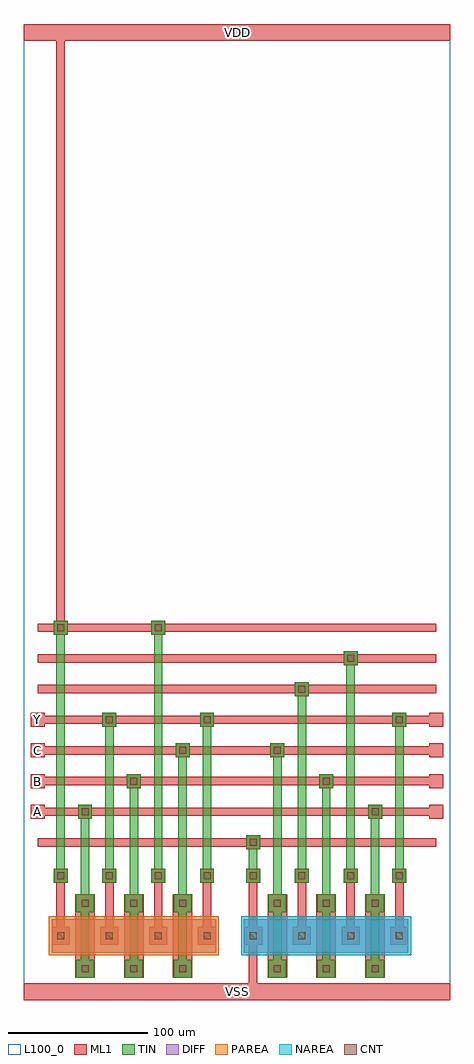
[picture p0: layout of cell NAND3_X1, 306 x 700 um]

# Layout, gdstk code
import gdstk
lib = gdstk.Library(unit=1e-6, precision=1e-09)
def R(c, l, rs):  # rectangles x0, y0, x1, y1
    for r in rs: c.add(gdstk.rectangle(r[:2], r[2:], *l))
def A(c, l, x, y, w, h, nx, ny, dx, dy):  # array of equal rectangles
    R(c, l, [(x+i*dx, y+j*dy, x+i*dx+w, y+j*dy+h) for i in range(nx) for j in range(ny)])
DIFF = (3, 0)
TIN = (5, 0)
CNT = (7, 0)
ML1 = (8, 0)
PAREA = (18, 0)
NAREA = (19, 0)
L100_0 = (100, 0)

nand3_x1 = lib.new_cell('NAND3_X1')
R(nand3_x1, DIFF, [(20,34,138,58), (158,34,276,58)])
A(nand3_x1, TIN, 37.5, 16, 13, 13, 3, 2, 35, 47)
A(nand3_x1, TIN, 175.5, 16, 13, 13, 3, 2, 35, 47)
A(nand3_x1, TIN, 41, 28, 6, 37.5, 3, 1, 35, 0)
A(nand3_x1, TIN, 179, 28, 6, 37.5, 3, 1, 35, 0)
A(nand3_x1, TIN, 21.5, 84, 10, 10, 4, 1, 35, 0)
A(nand3_x1, TIN, 159.5, 84, 10, 10, 4, 1, 35, 0)
R(nand3_x1, TIN, [(41,69.5,47,135), (76,69.5,82,157), (111,69.5,117,179), (179,69.5,185,179), (214,69.5,220,157), (249,69.5,255,135), (23.5,89,29.5,267), (58.5,89,64.5,201), (93.5,89,99.5,267), (128.5,89,134.5,201), (161.5,89,167.5,113), (196.5,89,202.5,223), (231.5,89,237.5,245), (266.5,89,272.5,201), (159.5,108,169.5,118), (39,130,49,140), (247,130,257,140), (74,152,84,162), (212,152,222,162), (109,174,119,184), (177,174,187,184), (56.5,196,66.5,206), (126.5,196,136.5,206), (264.5,196,274.5,206), (194.5,218,204.5,228), (229.5,240,239.5,250), (21.5,262,31.5,272), (91.5,262,101.5,272)])
A(nand3_x1, CNT, 41.5, 20, 5, 5, 3, 2, 35, 47)
A(nand3_x1, CNT, 179.5, 20, 5, 5, 3, 2, 35, 47)
A(nand3_x1, CNT, 24, 43.5, 5, 5, 4, 2, 35, 43)
A(nand3_x1, CNT, 162, 43.5, 5, 5, 4, 2, 35, 43)
R(nand3_x1, CNT, [(162,110.5,167,115.5), (41.5,132.5,46.5,137.5), (249.5,132.5,254.5,137.5), (76.5,154.5,81.5,159.5), (214.5,154.5,219.5,159.5), (111.5,176.5,116.5,181.5), (179.5,176.5,184.5,181.5), (59,198.5,64,203.5), (129,198.5,134,203.5), (267,198.5,272,203.5), (197,220.5,202,225.5), (232,242.5,237,247.5), (24,264.5,29,269.5), (94,264.5,99,269.5)])
A(nand3_x1, ML1, 37, 16, 14, 60, 3, 1, 35, 0)
A(nand3_x1, ML1, 37.5, 16, 13, 13, 3, 2, 35, 47)
A(nand3_x1, ML1, 175, 16, 14, 60, 3, 1, 35, 0)
A(nand3_x1, ML1, 175.5, 16, 13, 13, 3, 2, 35, 47)
A(nand3_x1, ML1, 20, 39.5, 13, 13, 4, 1, 35, 0)
A(nand3_x1, ML1, 158, 39.5, 13, 13, 4, 1, 35, 0)
A(nand3_x1, ML1, 23.5, 46, 6, 43, 4, 1, 35, 0)
A(nand3_x1, ML1, 161.5, 46, 6, 43, 4, 1, 35, 0)
A(nand3_x1, ML1, 21.5, 84, 10, 10, 4, 1, 35, 0)
A(nand3_x1, ML1, 159.5, 84, 10, 10, 4, 1, 35, 0)
A(nand3_x1, ML1, 10, 110, 286, 6, 1, 8, 0, 22)
A(nand3_x1, ML1, 5, 130, 10, 10, 1, 4, 0, 22)
A(nand3_x1, ML1, 291, 130, 10, 10, 1, 4, 0, 22)
R(nand3_x1, ML1, [(0,0,306,12), (161.5,3,167.5,92), (159.5,108,169.5,118), (39,130,49,140), (247,130,257,140), (74,152,84,162), (212,152,222,162), (109,174,119,184), (177,174,187,184), (56.5,196,66.5,206), (126.5,196,136.5,206), (264.5,196,274.5,206), (194.5,218,204.5,228), (229.5,240,239.5,250), (21.5,262,31.5,272), (91.5,262,101.5,272), (23.5,264,29.5,697), (0,688,306,700)])
R(nand3_x1, PAREA, [(18,32,140,60)])
R(nand3_x1, NAREA, [(156,32,278,60)])
R(nand3_x1, L100_0, [(0,0,306,700)])
nand3_x1.add(gdstk.Label('A', (10,135), layer=13, texttype=0))
nand3_x1.add(gdstk.Label('B', (10,157), layer=13, texttype=0))
nand3_x1.add(gdstk.Label('C', (10,179), layer=13, texttype=0))
nand3_x1.add(gdstk.Label('Y', (10,201), layer=13, texttype=0))
nand3_x1.add(gdstk.Label('VDD', (153,694), layer=13, texttype=0))
nand3_x1.add(gdstk.Label('VSS', (153,6), layer=13, texttype=0))

lib.write_gds('NAND3_X1.gds')
